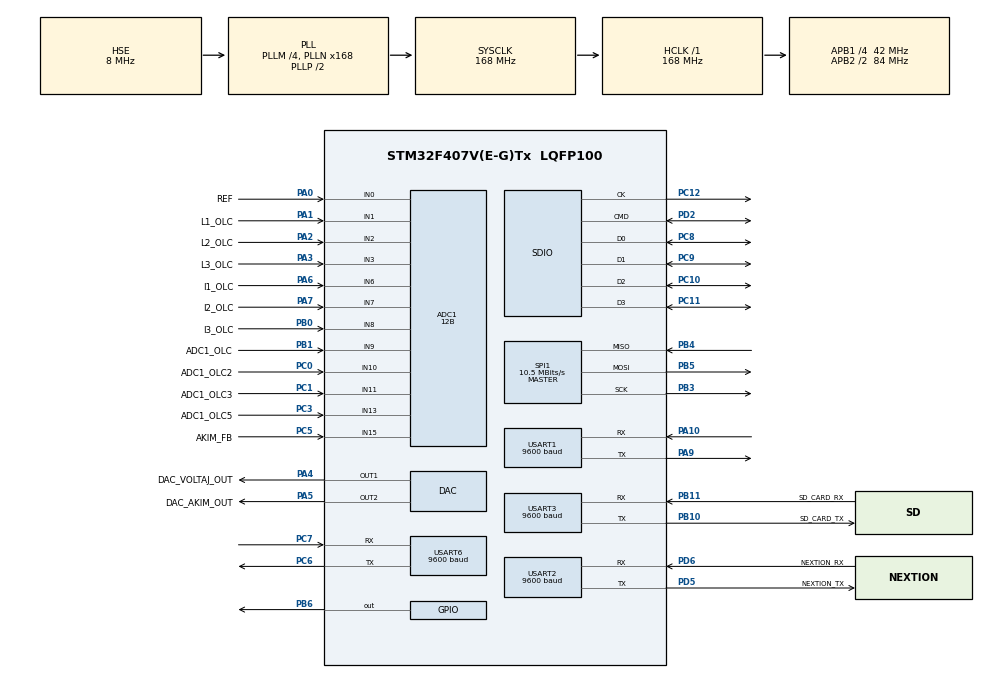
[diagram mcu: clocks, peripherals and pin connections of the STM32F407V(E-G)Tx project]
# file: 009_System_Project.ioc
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ADC1.Channel-0\#ChannelRegularConversion=ADC_CHANNEL_0
ADC1.Channel-10\#ChannelRegularConversion=ADC_CHANNEL_2
ADC1.Channel-11\#ChannelRegularConversion=ADC_CHANNEL_3
ADC1.Channel-12\#ChannelRegularConversion=ADC_CHANNEL_6
ADC1.Channel-13\#ChannelRegularConversion=ADC_CHANNEL_7
ADC1.Channel-14\#ChannelRegularConversion=ADC_CHANNEL_8
ADC1.Channel-15\#ChannelRegularConversion=ADC_CHANNEL_9
ADC1.Channel-16\#ChannelRegularConversion=ADC_CHANNEL_10
ADC1.Channel-17\#ChannelRegularConversion=ADC_CHANNEL_11
ADC1.Channel-18\#ChannelRegularConversion=ADC_CHANNEL_13
ADC1.Channel-19\#ChannelRegularConversion=ADC_CHANNEL_15
ADC1.Channel-9\#ChannelRegularConversion=ADC_CHANNEL_1
ADC1.ContinuousConvMode=ENABLE
ADC1.DMAContinuousRequests=ENABLE
ADC1.NbrOfConversion=12
ADC1.NbrOfConversionFlag=1
ADC1.Rank-0\#ChannelRegularConversion=1
ADC1.Rank-10\#ChannelRegularConversion=3
ADC1.Rank-11\#ChannelRegularConversion=4
ADC1.Rank-12\#ChannelRegularConversion=5
ADC1.Rank-13\#ChannelRegularConversion=6
ADC1.Rank-14\#ChannelRegularConversion=7
ADC1.Rank-15\#ChannelRegularConversion=8
ADC1.Rank-16\#ChannelRegularConversion=9
ADC1.Rank-17\#ChannelRegularConversion=10
ADC1.Rank-18\#ChannelRegularConversion=11
ADC1.Rank-19\#ChannelRegularConversion=12
ADC1.Rank-9\#ChannelRegularConversion=2
ADC1.Resolution=ADC_RESOLUTION_12B
ADC1.SamplingTime-0\#ChannelRegularConversion=ADC_SAMPLETIME_480CYCLES
ADC1.SamplingTime-10\#ChannelRegularConversion=ADC_SAMPLETIME_480CYCLES
ADC1.SamplingTime-11\#ChannelRegularConversion=ADC_SAMPLETIME_480CYCLES
ADC1.SamplingTime-12\#ChannelRegularConversion=ADC_SAMPLETIME_480CYCLES
ADC1.SamplingTime-13\#ChannelRegularConversion=ADC_SAMPLETIME_480CYCLES
ADC1.SamplingTime-14\#ChannelRegularConversion=ADC_SAMPLETIME_480CYCLES
ADC1.SamplingTime-15\#ChannelRegularConversion=ADC_SAMPLETIME_480CYCLES
ADC1.SamplingTime-16\#ChannelRegularConversion=ADC_SAMPLETIME_480CYCLES
ADC1.SamplingTime-17\#ChannelRegularConversion=ADC_SAMPLETIME_480CYCLES
ADC1.SamplingTime-18\#ChannelRegularConversion=ADC_SAMPLETIME_480CYCLES
ADC1.SamplingTime-19\#ChannelRegularConversion=ADC_SAMPLETIME_480CYCLES
ADC1.SamplingTime-9\#ChannelRegularConversion=ADC_SAMPLETIME_480CYCLES
ADC1.ScanConvMode=ENABLE
ADC1.master=1
Dma.ADC1.0.Direction=DMA_PERIPH_TO_MEMORY
Dma.ADC1.0.FIFOMode=DMA_FIFOMODE_DISABLE
Dma.ADC1.0.Instance=DMA2_Stream0
Dma.ADC1.0.MemDataAlignment=DMA_MDATAALIGN_WORD
Dma.ADC1.0.MemInc=DMA_MINC_ENABLE
Dma.ADC1.0.Mode=DMA_CIRCULAR
Dma.ADC1.0.PeriphDataAlignment=DMA_PDATAALIGN_WORD
Dma.ADC1.0.PeriphInc=DMA_PINC_DISABLE
Dma.ADC1.0.Priority=DMA_PRIORITY_LOW
Dma.Request0=ADC1
FATFS._MAX_SS=4096
FATFS._USE_LFN=1
Mcu.Family=STM32F4
Mcu.Name=STM32F407V(E-G)Tx
Mcu.Package=LQFP100
NVIC.DMA2_Stream0_IRQn=true\:0\:0\:false\:false\:true\:false\:true\:true
NVIC.PriorityGroup=NVIC_PRIORITYGROUP_0
NVIC.TIM1_UP_TIM10_IRQn=true\:0\:0\:false\:false\:true\:true\:true\:true
NVIC.TIM8_UP_TIM13_IRQn=true\:0\:0\:false\:false\:true\:true\:true\:true
NVIC.USART1_IRQn=true\:0\:0\:false\:false\:true\:true\:true\:true
NVIC.USART2_IRQn=true\:0\:0\:false\:false\:true\:true\:true\:true
NVIC.USART3_IRQn=true\:0\:0\:false\:false\:true\:true\:true\:true
NVIC.USART6_IRQn=true\:0\:0\:false\:false\:true\:true\:true\:true
PA0-WKUP.GPIO_Label=REF
PA0-WKUP.Signal=ADCx_IN0
PA1.GPIO_Label=L1_OLC
PA1.Signal=ADCx_IN1
PA10.Mode=Asynchronous
PA10.Signal=USART1_RX
PA13.Mode=Serial_Wire
PA13.Signal=SYS_JTMS-SWDIO
PA14.Mode=Serial_Wire
PA14.Signal=SYS_JTCK-SWCLK
PA2.GPIO_Label=L2_OLC
PA2.Signal=ADCx_IN2
PA3.GPIO_Label=L3_OLC
PA3.Signal=ADCx_IN3
PA4.GPIO_Label=DAC_VOLTAJ_OUT
PA4.Signal=COMP_DAC1_group
PA5.GPIO_Label=DAC_AKIM_OUT
PA5.Signal=COMP_DAC2_group
PA6.GPIO_Label=I1_OLC
PA6.Signal=ADCx_IN6
PA7.GPIO_Label=I2_OLC
PA7.Signal=ADCx_IN7
PA9.Mode=Asynchronous
PA9.Signal=USART1_TX
PB0.GPIO_Label=I3_OLC
PB0.Signal=ADCx_IN8
PB1.GPIO_Label=ADC1_OLC
PB1.Signal=ADCx_IN9
PB10.GPIO_Label=SD_CARD_TX
PB10.Mode=Asynchronous
PB10.Signal=USART3_TX
PB11.GPIO_Label=SD_CARD_RX
PB11.Mode=Asynchronous
PB11.Signal=USART3_RX
PB3.Mode=Full_Duplex_Master
PB3.Signal=SPI1_SCK
PB4.Mode=Full_Duplex_Master
PB4.Signal=SPI1_MISO
PB5.Mode=Full_Duplex_Master
PB5.Signal=SPI1_MOSI
PB6.GPIO_Speed=GPIO_SPEED_FREQ_MEDIUM
PB6.PinState=GPIO_PIN_SET
PB6.Signal=GPIO_Output
PC0.GPIO_Label=ADC1_OLC2
PC0.Signal=ADCx_IN10
PC1.GPIO_Label=ADC1_OLC3
PC1.Signal=ADCx_IN11
PC10.Mode=SD_4_bits_Wide_bus
PC10.Signal=SDIO_D2
PC11.Mode=SD_4_bits_Wide_bus
PC11.Signal=SDIO_D3
PC12.Mode=SD_4_bits_Wide_bus
PC12.Signal=SDIO_CK
PC14-OSC32_IN.Mode=LSE-External-Oscillator
PC14-OSC32_IN.Signal=RCC_OSC32_IN
PC15-OSC32_OUT.Mode=LSE-External-Oscillator
PC15-OSC32_OUT.Signal=RCC_OSC32_OUT
PC3.GPIO_Label=ADC1_OLC5
PC3.Signal=ADCx_IN13
PC5.GPIO_Label=AKIM_FB
PC5.Signal=ADCx_IN15
PC6.Mode=Asynchronous
PC6.Signal=USART6_TX
PC7.Mode=Asynchronous
PC7.Signal=USART6_RX
PC8.Mode=SD_4_bits_Wide_bus
PC8.Signal=SDIO_D0
PC9.Mode=SD_4_bits_Wide_bus
PC9.Signal=SDIO_D1
PD2.Mode=SD_4_bits_Wide_bus
PD2.Signal=SDIO_CMD
PD5.GPIO_Label=NEXTION_TX
PD5.Mode=Asynchronous
PD5.Signal=USART2_TX
PD6.GPIO_Label=NEXTION_RX
PD6.Mode=Asynchronous
PD6.Signal=USART2_RX
PH0-OSC_IN.Mode=HSE-External-Oscillator
PH0-OSC_IN.Signal=RCC_OSC_IN
PH1-OSC_OUT.Mode=HSE-External-Oscillator
PH1-OSC_OUT.Signal=RCC_OSC_OUT
ProjectManager.HeapSize=0x200
ProjectManager.StackSize=0x400
ProjectManager.TargetToolchain=STM32CubeIDE
RCC.48MHZClocksFreq_Value=48000000
RCC.AHBFreq_Value=168000000
RCC.APB1CLKDivider=RCC_HCLK_DIV4
RCC.APB1Freq_Value=42000000
RCC.APB1TimFreq_Value=84000000
RCC.APB2CLKDivider=RCC_HCLK_DIV2
RCC.APB2Freq_Value=84000000
RCC.APB2TimFreq_Value=168000000
RCC.CortexFreq_Value=168000000
RCC.HCLKFreq_Value=168000000
RCC.HSE_VALUE=8000000
RCC.HSI_VALUE=16000000
RCC.PLLM=4
RCC.PLLN=168
RCC.PLLQ=7
RCC.PLLSourceVirtual=RCC_PLLSOURCE_HSE
RCC.SYSCLKFreq_VALUE=168000000
RCC.SYSCLKSource=RCC_SYSCLKSOURCE_PLLCLK
RCC.VCOOutputFreq_Value=336000000
SH.ADCx_IN0.0=ADC1_IN0,IN0
SH.ADCx_IN0.1=ADC2_IN0
SH.ADCx_IN1.0=ADC1_IN1,IN1
SH.ADCx_IN10.0=ADC1_IN10,IN10
SH.ADCx_IN11.0=ADC1_IN11,IN11
SH.ADCx_IN13.0=ADC1_IN13,IN13
SH.ADCx_IN15.0=ADC1_IN15,IN15
SH.ADCx_IN2.0=ADC1_IN2,IN2
SH.ADCx_IN3.0=ADC1_IN3,IN3
SH.ADCx_IN6.0=ADC1_IN6,IN6
SH.ADCx_IN7.0=ADC1_IN7,IN7
SH.ADCx_IN8.0=ADC1_IN8,IN8
SH.ADCx_IN9.0=ADC1_IN9,IN9
SH.COMP_DAC1_group.0=DAC_OUT1,DAC_OUT1
SH.COMP_DAC2_group.0=DAC_OUT2,DAC_OUT2
SPI1.BaudRatePrescaler=SPI_BAUDRATEPRESCALER_8
SPI1.CalculateBaudRate=10.5 MBits/s
SPI1.Direction=SPI_DIRECTION_2LINES
SPI1.Mode=SPI_MODE_MASTER
SPI1.VirtualType=VM_MASTER
TIM1.Period=8400-1
TIM1.Prescaler=2-1
TIM1.TIM_MasterOutputTrigger=TIM_TRGO_UPDATE
TIM8.Period=8400-1
TIM8.Prescaler=20000-1
TIM8.TIM_MasterOutputTrigger=TIM_TRGO_UPDATE
USART1.BaudRate=9600
USART1.VirtualMode=VM_ASYNC
USART2.BaudRate=9600
USART2.VirtualMode=VM_ASYNC
USART3.BaudRate=9600
USART3.VirtualMode=VM_ASYNC
USART6.BaudRate=9600
USART6.VirtualMode=VM_ASYNC
VP_FATFS_VS_Generic.Mode=User_defined
VP_FATFS_VS_SDIO.Mode=SDIO
VP_TIM1_VS_ClockSourceINT.Mode=Internal
VP_TIM8_VS_ClockSourceINT.Mode=Internal
board=STM32F407G-DISC1

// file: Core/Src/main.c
/* USER CODE BEGIN Header */
/**
  ******************************************************************************
  * @file           : main.c
  * @brief          : Main program body
  ******************************************************************************
  * @attention
  *
  * Copyright (c) 2024 STMicroelectronics.
  * All rights reserved.
  *
  * This software is licensed under terms that can be found in the LICENSE file
  * in the root directory of this software component.
  * If no LICENSE file comes with this software, it is provided AS-IS.
  *
  ******************************************************************************
  */
/* USER CODE END Header */
#include "main.h"
#include "fatfs.h"

/* USER CODE BEGIN Includes */
#include "fatfs_sd.h"
#include "stdio.h"
#include "string.h"
#include "time.h"
#include "math.h"
#include "stdlib.h"
#include "UartRingbuffer.h"
#include "File_Handling.h"
#define CT 50
/* USER CODE END Includes */

/* USER CODE BEGIN PD */
SPI_HandleTypeDef hspi1;
FATFS fs;
FATFS *pfs;
FIL fil;
FRESULT fres;
DWORD fre_clust;
uint32_t totalSpace, freeSpace;
/* USER CODE END PD */

ADC_HandleTypeDef hadc1;
DMA_HandleTypeDef hdma_adc1;

DAC_HandleTypeDef hdac;

SD_HandleTypeDef hsd;

SPI_HandleTypeDef hspi1;

TIM_HandleTypeDef htim1;
TIM_HandleTypeDef htim8;

UART_HandleTypeDef huart1;
UART_HandleTypeDef huart2;
UART_HandleTypeDef huart3;
UART_HandleTypeDef huart6;

/* USER CODE BEGIN PV */
char message[128];
uint32_t start_tick, end_tick ;
/* USER CODE END PV */

void SystemClock_Config(void);
static void MX_GPIO_Init(void);
static void MX_DMA_Init(void);
static void MX_ADC1_Init(void);
static void MX_TIM1_Init(void);
static void MX_USART2_UART_Init(void);
static void MX_DAC_Init(void);
static void MX_SPI1_Init(void);
static void MX_USART3_UART_Init(void);
static void MX_TIM8_Init(void);
static void MX_SDIO_SD_Init(void);
static void MX_USART1_UART_Init(void);
static void MX_USART6_UART_Init(void);
/* USER CODE BEGIN PFP */
#ifdef __GNUC__
#define PUTCHAR_PROTOTYPE int __io_putchar(int ch)
#else
#define PUTCHAR_PROTOTYPE int fputc(int ch, FILE *f)
#endif /* __GNUC__ */
PUTCHAR_PROTOTYPE
	{
    HAL_UART_Transmit(&huart1, (uint8_t *)&ch, 1, 1000);
    return ch;
	}
/* USER CODE END PFP */

/* USER CODE BEGIN 0 */

	 /*
	 * SD karta kaydederken veriler aşağı doğru yazdırılıyor onları yan yana yazdıracaksın.
	 *USART2 NEXTION HMI DISPLAY
	 *USART3 SD CARD LOGS
	 *USART4 TIME SPEND
	 *12-bit ADC, the digital output value will be between 0-4095.
	 */

uint32_t adc_Buffer[12];
uint32_t adc1_Value[12];
uint32_t adc1_Square[12];
uint32_t adc1_Square_Root[12];
uint32_t adc1_Add[12];
uint32_t adc1_Mean[12];
uint32_t k=0,count=0, sd_Flag=0;
uint32_t I1L,I2L,I3L,V1L,V2L,V3L,V12L,V23L,V13L,I12L,I23L,I13L,Ifb,Vfb;
uint32_t bara_Arti,bara_Eksi,Vout,t_sample,akim,Iout,Vin,Iin,temp,bara_Toplam;
int iMean=0 , iV1L = 0, iV2L = 0, iV3L = 0, iI1L = 0, iI2L = 0, iI3L = 0;
int iVout = 0, itemp = 0,iIout = 0, iVin = 0, iIin = 0, iV12L = 0, iV23L = 0;
int iV13L = 0, iI12L = 0, iI23L = 0, iI13L = 0, ibara_Toplam = 0;
int sec=0;
uint8_t RX_Data[4];
uint8_t end_Command[3] = {0xFF, 0xFF, 0xFF};
uint32_t dac_V=0, dac_I=0,send_V=0,send_I=0;
char adc1_Last0[20], adc1_Last1[20], adc1_Last2[20], adc1_Last3[20], adc1_Last4[20], adc1_Last5[20];
char adc1_Last6[20], adc1_Last7[20], adc1_Last8[20], adc1_Last9[20], adc1_Last10[20];
char nextion_Buffer[50];
char buffer[100];

//SD karta yazmada kullanılan transmit_uart'ın fonskiyonu.
void transmit_uart(char *string)
{
     uint8_t len = strlen(string);
     HAL_UART_Transmit_IT(&huart3, (uint8_t*) string , len);
}

//Nextion'a değer göndermede kullanılan fonksiyon.
void nextion_Send(char *obj, uint32_t num ) //obj parametresine num değeri gönderilir.
{

	uint8_t *nextion_Buffer = malloc(30*sizeof(char)); //buffer için bellek tahsis edilir.
	int len = sprintf((char *)nextion_Buffer, "%s.val=%ld", obj, num); //nextion ekranına gönderilecek komut
	HAL_UART_Transmit_IT(&huart2, nextion_Buffer, len);
	HAL_UART_Transmit_IT(&huart2, end_Command, 3);
	free(nextion_Buffer); //bellek serbest bırakılır.

}

//Bu fonksiyon belirli bir değer aralığını başka bir değer aralığına dönüştürür.
uint32_t map(uint32_t min1, uint32_t max1, uint32_t min2, uint32_t max2, uint32_t width)
{
	return (min1*width)/min2;
}

//DAC ile alınan verinin gönderimi
void HAL_UART_RxCpltCallback(UART_HandleTypeDef *huart)
{
	 if (huart == &huart2)
	 {

		 if(RX_Data[1] == 0x31)
		 {
		 nextion_Send("n2", iVin);
		 nextion_Send("n3", iIin);
		 nextion_Send("n4", 666);
		 nextion_Send("n5", 777);
		 }

		 else if(RX_Data[1] == 0x32)
		 {
		 nextion_Send("n6", iVout);
		 nextion_Send("n7", iIout);
		 nextion_Send("n8", 666);
		 nextion_Send("n9", 777);
		 }

		 else if(RX_Data[1] == 0x33)
		 {
		 nextion_Send("n10", iV1L);
		 nextion_Send("n11", iI1L);
		 nextion_Send("n12", iV2L);
		 nextion_Send("n13", iI2L);
		 nextion_Send("n14", iV3L);
		 nextion_Send("n15", iI3L);
		 }

		 else if(RX_Data[1] == 0x34)
		 {
		 nextion_Send("n16", iV12L);
		 nextion_Send("n17", iI12L);
		 nextion_Send("n18", iV23L);
		 nextion_Send("n19", iI23L);
		 nextion_Send("n20", iV13L);
		 nextion_Send("n21", iI13L);
		 }

		 else if(RX_Data[1] == 0x35)
		 {
		 nextion_Send("n22", itemp);
		 }

		 else
		 {
		 nextion_Send("n0", send_V);
		 nextion_Send("n1", send_I);
		 }

		if(RX_Data[2] == 0x03)
		{
			dac_V -= 0.5;
			if(dac_V == 20) dac_V = 20;
			send_V = map(dac_V,0,20,0,1275);
		}

		if(RX_Data[2] == 0x04)
		{
			dac_V += 0.5;
			if(dac_V == 0) dac_V = 0;
			send_V = map(dac_V,0,20,0,1275);
		}

		if(RX_Data[2] == 0x05)
		{
			dac_I -= 50;
			if(dac_I == 3000) dac_I = 3000;
			send_I = map(dac_I,0,3000,0,1275);
		}
		if(RX_Data[2] == 0x06)
		{
			dac_I += 50;
			if(dac_I == 0) dac_I = 0;
			send_I = map(dac_I,0,3000,0,1275);
		}

		HAL_DAC_SetValue(&hdac, DAC_CHANNEL_1, DAC_ALIGN_12B_R,send_V);
		HAL_DAC_SetValue(&hdac, DAC_CHANNEL_2, DAC_ALIGN_12B_R,send_I);

	   HAL_UART_Receive_IT(&huart2, RX_Data, 4);
	 }

}

//Timer1 50us'de bir kesmeye girdi ve ADC1 bu kısımda örnek almaya başladı.

void HAL_ADC_ConvCpltCallback(ADC_HandleTypeDef *hadc)
{

while(count<1600)
	{

	switch(k)
		{

			case 0: //REF
				adc1_Value[k] += adc_Buffer[k];
				k++;
				break;

			case 1: //VL1
				adc1_Value[k] += adc_Buffer[k];
				k++;
				break;

			case 2: //VL2
				adc1_Value[k] += adc_Buffer[k];
				k++;
				break;

			case 3: //VL3
				adc1_Value[k] += adc_Buffer[k];
				k++;
				break;

			case 4: //IL1
				adc1_Value[k] += adc_Buffer[k];
				k++;
				break;

			case 5: //IL2
				adc1_Value[k] += adc_Buffer[k];
				k++;
				break;

			case 6: //IL3
				adc1_Value[k] += adc_Buffer[k];
				k++;
				break;

			case 7: //BARA+
				adc1_Value[k] += adc_Buffer[k];
				k++;
				break;

			case 8: //BARA-
				adc1_Value[k] += adc_Buffer[k];
				k++;
				break;

			case 9: //FB VOLTAGE
				adc1_Value[k] += adc_Buffer[k];
				k++;
				break;

			case 10: //T_SAMPLE
				adc1_Value[k] += adc_Buffer[k];
				k++;
				break;

			case 11: //AKIM
				adc1_Value[k] += adc_Buffer[k];
				count++;
				k=0;
				break;

		}

		if(count==1600)
		{

				adc1_Mean[0] = adc1_Value[0] / 1600;

			for(uint8_t t=1;t<7;t++)
				{
				//RMS Değer Hesabı
				adc1_Mean[t] = adc1_Value[t] / 1600; //Alınan değerler toplamı toplam sayıya bölündü ve ort değer elde edildi.
				adc1_Square[t] = (adc1_Mean[t]-adc1_Mean[0]) * (adc1_Mean[t]-adc1_Mean[0]); //Ortalama değerin karesi alındı.
				adc1_Square_Root[t] = 331 * sqrt(adc1_Square[t]  * 0.707 / 868.8); //Karesi alınan değerlerin karekökü alındı. 331:Gerilim Bölücü  0.707:RMS Hesabı(sqrt(2)/2)  868.8:Kalibrasyon Çarpanı
				}

				V1L=adc1_Square_Root[1];  //V1L
				V2L=adc1_Square_Root[2];  //V2L
				V3L=adc1_Square_Root[3];  //V3L

				I1L = CT * (330 * 3.3 / 4095 / 55 * sqrt(adc1_Square[4])); // IL1  330,55:Direnç ve kalibrasyon çarpanı
				I2L = CT * (330 * 3.3 / 4095 / 55 * sqrt(adc1_Square[5])); // IL2
				I3L = CT * (330 * 3.3 / 4095 / 55 * sqrt(adc1_Square[6])); //IL3

				Vin = (V1L+V2L+V3L) / 3;
				Iin = (I1L+I2L+I3L) / 3;

				for(uint8_t j=7;j<12;j++) adc1_Mean[j] = adc1_Value[j] / 1600;

				bara_Arti=adc1_Mean[7] * 3.3 / 4096; //bara+
				bara_Eksi=adc1_Mean[8] * 3.3 / 4096; //bara-
				Vout=adc1_Mean[9] * 3.3 / 4096 * 0.9615; // Vout
				t_sample=adc1_Mean[10] * 3.3 / 4096; //s_sample sıcaklık
				akim=adc1_Mean[11] * 3.3 / 4096; //akım
				Iout=map(adc1_Mean[11],180,995,0,3680)-697; // Iout
				if(Iout<0) Iout=0;
				bara_Toplam=bara_Arti-bara_Eksi;

				//Sıcaklık hesabı
				temp = 16.628 * t_sample * t_sample + 535.2484 * t_sample -16.129 ;

				//Faz-Faz arası gerilim ve akımlar
				V12L=sqrt(3)*(adc1_Square_Root[1] + adc1_Square_Root[2] / 2);
				V23L=sqrt(3)*(adc1_Square_Root[2] + adc1_Square_Root[3] / 2);
				V13L=sqrt(3)*(adc1_Square_Root[1] + adc1_Square_Root[3] / 2);
				I12L=sqrt(3)*(adc1_Square_Root[4] + adc1_Square_Root[5] / 2);
				I23L=sqrt(3)*(adc1_Square_Root[5] + adc1_Square_Root[6] / 2);
				I13L=sqrt(3)*(adc1_Square_Root[4] + adc1_Square_Root[6] / 2);

				//Değerler int'e çevriliyor.
				iMean=(int)adc1_Mean[0];
				iV1L = (int)V1L;
				iV2L = (int)V2L;
				iV3L = (int)V3L;
				iI1L = (int)I1L;
				iI2L = (int)I2L;
				iI3L = (int)I3L;
				iVout = (int)Vout;
				itemp = (int)temp;
				iIout = (int)Iout;
				iVin = (int)Vin;
				iIin = (int)Iin;
				iV12L = (int)V12L;
				iV23L = (int)V23L;
				iV13L = (int)V13L;
				iI12L = (int)I12L;
				iI23L = (int)I23L;
				iI13L = (int)I13L;
				ibara_Toplam = (int)bara_Toplam;

				//int değerler char'a çevriliyor
				sprintf(adc1_Last0, "%d", sec); //geçen süre timer 8 aracılığıyla yazılıyor.
				sprintf(adc1_Last1, "%d", iV1L);
				sprintf(adc1_Last2, "%d", iV2L);
				sprintf(adc1_Last3, "%d", iV3L);
				sprintf(adc1_Last4, "%d", iI1L);
				sprintf(adc1_Last5, "%d", iI2L);
				sprintf(adc1_Last6, "%d", iI3L);
				sprintf(adc1_Last7, "%d", ibara_Toplam);
				sprintf(adc1_Last8, "%d", iVout);
				sprintf(adc1_Last9, "%d", iIout);
				sprintf(adc1_Last10, "%d", itemp);

		}

	}
	sd_Flag=1;
}

/* USER CODE END 0 */

int main(void)
{

  /* MCU Configuration--------------------------------------------------------*/

  /* Reset of all peripherals, Initializes the Flash interface and the Systick. */
  HAL_Init();

  /* Configure the system clock */
  SystemClock_Config();

  /* USER CODE BEGIN SysInit */

  // Zaman ölçümü kod kısmı
  CoreDebug->DEMCR |= CoreDebug_DEMCR_TRCENA_Msk;
  DWT->CYCCNT = 0;
  DWT->CTRL = DWT_CTRL_CYCCNTENA_Msk;

  /* USER CODE END SysInit */

  /* Initialize all configured peripherals */
  MX_GPIO_Init();
  MX_DMA_Init();
  MX_ADC1_Init();
  MX_TIM1_Init();
  MX_USART2_UART_Init();
  MX_DAC_Init();
  MX_SPI1_Init();
  MX_USART3_UART_Init();
  MX_FATFS_Init();
  MX_TIM8_Init();
  MX_SDIO_SD_Init();
  MX_USART1_UART_Init();
  MX_USART6_UART_Init();
  /* USER CODE BEGIN 2 */
  HAL_TIM_Base_Start_IT(&htim1); // Örnekleme için timer kesmesi başlangıcı USER CODE 4'e git.
  HAL_TIM_Base_Start_IT(&htim8);  // HMI Ekrana her 1s'de yazması için timer kesmesi başlangıcı

  HAL_DAC_Start(&hdac, DAC_CHANNEL_1);
  HAL_DAC_Start(&hdac, DAC_CHANNEL_2);

  /* USER CODE END 2 */

  /* Infinite loop */
  while (1)
  {

    /* USER CODE BEGIN 3 */

	  if(sd_Flag==1)
	  {

start_tick = DWT->CYCCNT;

		  	//SD karta yazdırma kısmı, sd_Flag 1 olduğunda SD Karta yazdırıyor.
		    fres = f_mount(&fs, "", 0);
			if (fres == FR_OK) {
				transmit_uart("Micro SD card is mounted successfully!\n");
			} else if (fres != FR_OK) {
				transmit_uart("Micro SD card's mount error!\n");
			}

			// FA_OPEN_APPEND opens file if it exists and if not then creates it,
			// the pointer is set at the end of the file for appending
			fres = f_open(&fil, "log-file.txt", FA_OPEN_APPEND | FA_WRITE | FA_READ);
			if (fres == FR_OK) {
				transmit_uart("File opened for reading and checking the free space.\n");
			} else if (fres != FR_OK) {
				transmit_uart("File was not opened for reading and checking the free space!\n");
			}

			 //ADC değerlerinin char'a dönüştürülüp sd karta yazdırıldığı bölüm

//				 f_puts("(s) VL1 VL2 VL3 IL1 IL2 IL3 VBARA VOUT IOUT TBARA \n", &fil);
				 f_puts(adc1_Last0, &fil);   // ADC değerleri metin dosyasına yazdırıldı.
				 f_puts(" ", &fil);
				 f_puts(adc1_Last1, &fil);
				 f_puts(" ", &fil);
				 f_puts(adc1_Last2, &fil);
				 f_puts(" ", &fil);
				 f_puts(adc1_Last3, &fil);
				 f_puts(" ", &fil);
				 f_puts(adc1_Last4, &fil);
				 f_puts(" ", &fil);
				 f_puts(adc1_Last5, &fil);
				 f_puts(" ", &fil);
				 f_puts(adc1_Last6, &fil);
				 f_puts(" ", &fil);
				 f_puts(adc1_Last7, &fil);
				 f_puts(" ", &fil);
				 f_puts(adc1_Last8, &fil);
				 f_puts(" ", &fil);
				 f_puts(adc1_Last9, &fil);
				 f_puts(" ", &fil);
				 f_puts(adc1_Last10, &fil);
				 f_puts("\n", &fil);

			fres = f_close(&fil);
			if (fres == FR_OK) {
				transmit_uart("The file is closed.\n");
			} else if (fres != FR_OK) {
				transmit_uart("The file was not closed.\n");}

			    sd_Flag=0;
			count=0;
			k=0;

			// Alınan veriler sıfırlanıyor.
			for(uint8_t y=0;y<12;y++)
			{
				adc_Buffer[y]=0;
				adc1_Value[y]=0;
				adc1_Mean[y]=0;
				adc1_Square[y]=0;
				adc1_Square_Root[y]=0;
			}
	  }

end_tick = DWT->CYCCNT;
sprintf(message, "Time: %9.2f ms\r\n", (float)(end_tick-start_tick)/(168000000/1000.0));
printf(message);
HAL_Delay(1000 - ((end_tick-start_tick))/(168000000/1000.0));

  }
  /* USER CODE END 3 */
}

void SystemClock_Config(void)
{
  RCC_OscInitTypeDef RCC_OscInitStruct = {0};
  RCC_ClkInitTypeDef RCC_ClkInitStruct = {0};

  /** Configure the main internal regulator output voltage
  */
  __HAL_RCC_PWR_CLK_ENABLE();
  __HAL_PWR_VOLTAGESCALING_CONFIG(PWR_REGULATOR_VOLTAGE_SCALE1);

  /** Initializes the RCC Oscillators according to the specified parameters
  * in the RCC_OscInitTypeDef structure.
  */
  RCC_OscInitStruct.OscillatorType = RCC_OSCILLATORTYPE_HSE;
  RCC_OscInitStruct.HSEState = RCC_HSE_ON;
  RCC_OscInitStruct.PLL.PLLState = RCC_PLL_ON;
  RCC_OscInitStruct.PLL.PLLSource = RCC_PLLSOURCE_HSE;
  RCC_OscInitStruct.PLL.PLLM = 4;
  RCC_OscInitStruct.PLL.PLLN = 168;
  RCC_OscInitStruct.PLL.PLLP = RCC_PLLP_DIV2;
  RCC_OscInitStruct.PLL.PLLQ = 7;
  if (HAL_RCC_OscConfig(&RCC_OscInitStruct) != HAL_OK)
  {
    Error_Handler();
  }

  /** Initializes the CPU, AHB and APB buses clocks
  */
  RCC_ClkInitStruct.ClockType = RCC_CLOCKTYPE_HCLK|RCC_CLOCKTYPE_SYSCLK
                              |RCC_CLOCKTYPE_PCLK1|RCC_CLOCKTYPE_PCLK2;
  RCC_ClkInitStruct.SYSCLKSource = RCC_SYSCLKSOURCE_PLLCLK;
  RCC_ClkInitStruct.AHBCLKDivider = RCC_SYSCLK_DIV1;
  RCC_ClkInitStruct.APB1CLKDivider = RCC_HCLK_DIV4;
  RCC_ClkInitStruct.APB2CLKDivider = RCC_HCLK_DIV2;

  if (HAL_RCC_ClockConfig(&RCC_ClkInitStruct, FLASH_LATENCY_5) != HAL_OK)
  {
    Error_Handler();
  }
}

static void MX_ADC1_Init(void)
{

  ADC_ChannelConfTypeDef sConfig = {0};

  /** Configure the global features of the ADC (Clock, Resolution, Data Alignment and number of conversion)
  */
  hadc1.Instance = ADC1;
  hadc1.Init.ClockPrescaler = ADC_CLOCK_SYNC_PCLK_DIV4;
  hadc1.Init.Resolution = ADC_RESOLUTION_12B;
  hadc1.Init.ScanConvMode = ENABLE;
  hadc1.Init.ContinuousConvMode = ENABLE;
  hadc1.Init.DiscontinuousConvMode = DISABLE;
  hadc1.Init.ExternalTrigConvEdge = ADC_EXTERNALTRIGCONVEDGE_NONE;
  hadc1.Init.ExternalTrigConv = ADC_SOFTWARE_START;
  hadc1.Init.DataAlign = ADC_DATAALIGN_RIGHT;
  hadc1.Init.NbrOfConversion = 12;
  hadc1.Init.DMAContinuousRequests = ENABLE;
  hadc1.Init.EOCSelection = ADC_EOC_SINGLE_CONV;
  if (HAL_ADC_Init(&hadc1) != HAL_OK)
  {
    Error_Handler();
  }

  /** Configure for the selected ADC regular channel its corresponding rank in the sequencer and its sample time.
  */
  sConfig.Channel = ADC_CHANNEL_0;
  sConfig.Rank = 1;
  sConfig.SamplingTime = ADC_SAMPLETIME_480CYCLES;
  if (HAL_ADC_ConfigChannel(&hadc1, &sConfig) != HAL_OK)
  {
    Error_Handler();
  }

  /** Configure for the selected ADC regular channel its corresponding rank in the sequencer and its sample time.
  */
  sConfig.Channel = ADC_CHANNEL_1;
  sConfig.Rank = 2;
  if (HAL_ADC_ConfigChannel(&hadc1, &sConfig) != HAL_OK)
  {
    Error_Handler();
  }

  /** Configure for the selected ADC regular channel its corresponding rank in the sequencer and its sample time.
  */
  sConfig.Channel = ADC_CHANNEL_2;
  sConfig.Rank = 3;
  if (HAL_ADC_ConfigChannel(&hadc1, &sConfig) != HAL_OK)
  {
    Error_Handler();
  }

  /** Configure for the selected ADC regular channel its corresponding rank in the sequencer and its sample time.
  */
  sConfig.Channel = ADC_CHANNEL_3;
  sConfig.Rank = 4;
  if (HAL_ADC_ConfigChannel(&hadc1, &sConfig) != HAL_OK)
  {
    Error_Handler();
  }

  /** Configure for the selected ADC regular channel its corresponding rank in the sequencer and its sample time.
  */
  sConfig.Channel = ADC_CHANNEL_6;
  sConfig.Rank = 5;
  if (HAL_ADC_ConfigChannel(&hadc1, &sConfig) != HAL_OK)
  {
    Error_Handler();
  }

  /** Configure for the selected ADC regular channel its corresponding rank in the sequencer and its sample time.
  */
  sConfig.Channel = ADC_CHANNEL_7;
  sConfig.Rank = 6;
  if (HAL_ADC_ConfigChannel(&hadc1, &sConfig) != HAL_OK)
  {
    Error_Handler();
  }

  /** Configure for the selected ADC regular channel its corresponding rank in the sequencer and its sample time.
  */
  sConfig.Channel = ADC_CHANNEL_8;
  sConfig.Rank = 7;
  if (HAL_ADC_ConfigChannel(&hadc1, &sConfig) != HAL_OK)
  {
    Error_Handler();
  }

  /** Configure for the selected ADC regular channel its corresponding rank in the sequencer and its sample time.
  */
  sConfig.Channel = ADC_CHANNEL_9;
  sConfig.Rank = 8;
  if (HAL_ADC_ConfigChannel(&hadc1, &sConfig) != HAL_OK)
  {
    Error_Handler();
  }

  /** Configure for the selected ADC regular channel its corresponding rank in the sequencer and its sample time.
  */
  sConfig.Channel = ADC_CHANNEL_10;
  sConfig.Rank = 9;
  if (HAL_ADC_ConfigChannel(&hadc1, &sConfig) != HAL_OK)
  {
    Error_Handler();
  }

  /** Configure for the selected ADC regular channel its corresponding rank in the sequencer and its sample time.
  */
  sConfig.Channel = ADC_CHANNEL_11;
  sConfig.Rank = 10;
  if (HAL_ADC_ConfigChannel(&hadc1, &sConfig) != HAL_OK)
  {
    Error_Handler();
  }

  /** Configure for the selected ADC regular channel its corresponding rank in the sequencer and its sample time.
  */
  sConfig.Channel = ADC_CHANNEL_13;
  sConfig.Rank = 11;
  if (HAL_ADC_ConfigChannel(&hadc1, &sConfig) != HAL_OK)
  {
    Error_Handler();
  }

  /** Configure for the selected ADC regular channel its corresponding rank in the sequencer and its sample time.
  */
  sConfig.Channel = ADC_CHANNEL_15;
  sConfig.Rank = 12;
  if (HAL_ADC_ConfigChannel(&hadc1, &sConfig) != HAL_OK)
  {
    Error_Handler();
  }

}

static void MX_DAC_Init(void)
{

  DAC_ChannelConfTypeDef sConfig = {0};

  /** DAC Initialization
  */
  hdac.Instance = DAC;
  if (HAL_DAC_Init(&hdac) != HAL_OK)
  {
    Error_Handler();
  }

  /** DAC channel OUT1 config
  */
  sConfig.DAC_Trigger = DAC_TRIGGER_NONE;
  sConfig.DAC_OutputBuffer = DAC_OUTPUTBUFFER_ENABLE;
  if (HAL_DAC_ConfigChannel(&hdac, &sConfig, DAC_CHANNEL_1) != HAL_OK)
  {
    Error_Handler();
  }

  /** DAC channel OUT2 config
  */
  if (HAL_DAC_ConfigChannel(&hdac, &sConfig, DAC_CHANNEL_2) != HAL_OK)
  {
    Error_Handler();
  }

}

static void MX_SDIO_SD_Init(void)
{

  hsd.Instance = SDIO;
  hsd.Init.ClockEdge = SDIO_CLOCK_EDGE_RISING;
  hsd.Init.ClockBypass = SDIO_CLOCK_BYPASS_DISABLE;
  hsd.Init.ClockPowerSave = SDIO_CLOCK_POWER_SAVE_DISABLE;
  hsd.Init.BusWide = SDIO_BUS_WIDE_4B;
  hsd.Init.HardwareFlowControl = SDIO_HARDWARE_FLOW_CONTROL_DISABLE;
  hsd.Init.ClockDiv = 0;

}

static void MX_SPI1_Init(void)
{

  /* SPI1 parameter configuration*/
  hspi1.Instance = SPI1;
  hspi1.Init.Mode = SPI_MODE_MASTER;
  hspi1.Init.Direction = SPI_DIRECTION_2LINES;
  hspi1.Init.DataSize = SPI_DATASIZE_8BIT;
  hspi1.Init.CLKPolarity = SPI_POLARITY_LOW;
  hspi1.Init.CLKPhase = SPI_PHASE_1EDGE;
  hspi1.Init.NSS = SPI_NSS_SOFT;
  hspi1.Init.BaudRatePrescaler = SPI_BAUDRATEPRESCALER_8;
  hspi1.Init.FirstBit = SPI_FIRSTBIT_MSB;
  hspi1.Init.TIMode = SPI_TIMODE_DISABLE;
  hspi1.Init.CRCCalculation = SPI_CRCCALCULATION_DISABLE;
  hspi1.Init.CRCPolynomial = 10;
  if (HAL_SPI_Init(&hspi1) != HAL_OK)
  {
    Error_Handler();
  }

}

static void MX_TIM1_Init(void)
{

  TIM_ClockConfigTypeDef sClockSourceConfig = {0};
  TIM_MasterConfigTypeDef sMasterConfig = {0};

  htim1.Instance = TIM1;
  htim1.Init.Prescaler = 2-1;
  htim1.Init.CounterMode = TIM_COUNTERMODE_UP;
  htim1.Init.Period = 8400-1;
  htim1.Init.ClockDivision = TIM_CLOCKDIVISION_DIV1;
  htim1.Init.RepetitionCounter = 0;
  htim1.Init.AutoReloadPreload = TIM_AUTORELOAD_PRELOAD_DISABLE;
  if (HAL_TIM_Base_Init(&htim1) != HAL_OK)
  {
    Error_Handler();
  }
  sClockSourceConfig.ClockSource = TIM_CLOCKSOURCE_INTERNAL;
  if (HAL_TIM_ConfigClockSource(&htim1, &sClockSourceConfig) != HAL_OK)
  {
    Error_Handler();
  }
  sMasterConfig.MasterOutputTrigger = TIM_TRGO_UPDATE;
  sMasterConfig.MasterSlaveMode = TIM_MASTERSLAVEMODE_DISABLE;
  if (HAL_TIMEx_MasterConfigSynchronization(&htim1, &sMasterConfig) != HAL_OK)
  {
    Error_Handler();
  }

}

static void MX_TIM8_Init(void)
{

  TIM_ClockConfigTypeDef sClockSourceConfig = {0};
  TIM_MasterConfigTypeDef sMasterConfig = {0};

  htim8.Instance = TIM8;
  htim8.Init.Prescaler = 20000-1;
  htim8.Init.CounterMode = TIM_COUNTERMODE_UP;
  htim8.Init.Period = 8400-1;
  htim8.Init.ClockDivision = TIM_CLOCKDIVISION_DIV1;
  htim8.Init.RepetitionCounter = 0;
  htim8.Init.AutoReloadPreload = TIM_AUTORELOAD_PRELOAD_DISABLE;
  if (HAL_TIM_Base_Init(&htim8) != HAL_OK)
  {
    Error_Handler();
  }
  sClockSourceConfig.ClockSource = TIM_CLOCKSOURCE_INTERNAL;
  if (HAL_TIM_ConfigClockSource(&htim8, &sClockSourceConfig) != HAL_OK)
  {
    Error_Handler();
  }
  sMasterConfig.MasterOutputTrigger = TIM_TRGO_UPDATE;
  sMasterConfig.MasterSlaveMode = TIM_MASTERSLAVEMODE_DISABLE;
  if (HAL_TIMEx_MasterConfigSynchronization(&htim8, &sMasterConfig) != HAL_OK)
  {
    Error_Handler();
  }

}

static void MX_USART1_UART_Init(void)
{

  huart1.Instance = USART1;
  huart1.Init.BaudRate = 9600;
  huart1.Init.WordLength = UART_WORDLENGTH_8B;
  huart1.Init.StopBits = UART_STOPBITS_1;
  huart1.Init.Parity = UART_PARITY_NONE;
  huart1.Init.Mode = UART_MODE_TX_RX;
  huart1.Init.HwFlowCtl = UART_HWCONTROL_NONE;
  huart1.Init.OverSampling = UART_OVERSAMPLING_16;
  if (HAL_UART_Init(&huart1) != HAL_OK)
  {
    Error_Handler();
  }

}

static void MX_USART2_UART_Init(void)
{

  huart2.Instance = USART2;
  huart2.Init.BaudRate = 9600;
  huart2.Init.WordLength = UART_WORDLENGTH_8B;
  huart2.Init.StopBits = UART_STOPBITS_1;
  huart2.Init.Parity = UART_PARITY_NONE;
  huart2.Init.Mode = UART_MODE_TX_RX;
  huart2.Init.HwFlowCtl = UART_HWCONTROL_NONE;
  huart2.Init.OverSampling = UART_OVERSAMPLING_16;
  if (HAL_UART_Init(&huart2) != HAL_OK)
  {
    Error_Handler();
  }

}

static void MX_USART3_UART_Init(void)
{

  huart3.Instance = USART3;
  huart3.Init.BaudRate = 9600;
  huart3.Init.WordLength = UART_WORDLENGTH_8B;
  huart3.Init.StopBits = UART_STOPBITS_1;
  huart3.Init.Parity = UART_PARITY_NONE;
  huart3.Init.Mode = UART_MODE_TX_RX;
  huart3.Init.HwFlowCtl = UART_HWCONTROL_NONE;
  huart3.Init.OverSampling = UART_OVERSAMPLING_16;
  if (HAL_UART_Init(&huart3) != HAL_OK)
  {
    Error_Handler();
  }

}

static void MX_USART6_UART_Init(void)
{

  huart6.Instance = USART6;
  huart6.Init.BaudRate = 9600;
  huart6.Init.WordLength = UART_WORDLENGTH_8B;
  huart6.Init.StopBits = UART_STOPBITS_1;
  huart6.Init.Parity = UART_PARITY_NONE;
  huart6.Init.Mode = UART_MODE_TX_RX;
  huart6.Init.HwFlowCtl = UART_HWCONTROL_NONE;
  huart6.Init.OverSampling = UART_OVERSAMPLING_16;
  if (HAL_UART_Init(&huart6) != HAL_OK)
  {
    Error_Handler();
  }

}

static void MX_DMA_Init(void)
{

  /* DMA controller clock enable */
  __HAL_RCC_DMA2_CLK_ENABLE();

  /* DMA interrupt init */
  /* DMA2_Stream0_IRQn interrupt configuration */
  HAL_NVIC_SetPriority(DMA2_Stream0_IRQn, 0, 0);
  HAL_NVIC_EnableIRQ(DMA2_Stream0_IRQn);

}

static void MX_GPIO_Init(void)
{
  GPIO_InitTypeDef GPIO_InitStruct = {0};

  /* GPIO Ports Clock Enable */
  __HAL_RCC_GPIOC_CLK_ENABLE();
  __HAL_RCC_GPIOH_CLK_ENABLE();
  __HAL_RCC_GPIOA_CLK_ENABLE();
  __HAL_RCC_GPIOB_CLK_ENABLE();
  __HAL_RCC_GPIOD_CLK_ENABLE();

  /*Configure GPIO pin Output Level */
  HAL_GPIO_WritePin(GPIOB, GPIO_PIN_6, GPIO_PIN_SET);

  /*Configure GPIO pin : REF_Pin */
  GPIO_InitStruct.Pin = REF_Pin;
  GPIO_InitStruct.Mode = GPIO_MODE_ANALOG;
  GPIO_InitStruct.Pull = GPIO_NOPULL;
  HAL_GPIO_Init(REF_GPIO_Port, &GPIO_InitStruct);

  /*Configure GPIO pin : PB6 */
  GPIO_InitStruct.Pin = GPIO_PIN_6;
  GPIO_InitStruct.Mode = GPIO_MODE_OUTPUT_PP;
  GPIO_InitStruct.Pull = GPIO_NOPULL;
  GPIO_InitStruct.Speed = GPIO_SPEED_FREQ_MEDIUM;
  HAL_GPIO_Init(GPIOB, &GPIO_InitStruct);

}

/* USER CODE BEGIN 4 */

void HAL_TIM_PeriodElapsedCallback(TIM_HandleTypeDef *htim)  /* TIMER CAGRILDI  */
{
	 if(htim->Instance == TIM1)  // 50US'DE BIR KESMEYE GIRIP DEGER TOPLAYACAK.
	 {
		 HAL_ADC_Start_DMA(&hadc1, (uint32_t*) adc_Buffer, sizeof(adc_Buffer)); /* ADC1 BASLADI VE DEGERLER ADC1'DEN CEKILDI */

	 }

	 if(htim->Instance == TIM8) // 1s'de bir tft ekrana verileri gönderecek.
	 {

		 HAL_UART_Receive_IT(&huart2, RX_Data, 4);  //UART CallBack'e git ve basılan butona göre değer gönder ekrana.
		 sec++;

	 }

}

/* USER CODE END 4 */

void Error_Handler(void)
{
  __disable_irq();
  while (1)
  {
  }
}
